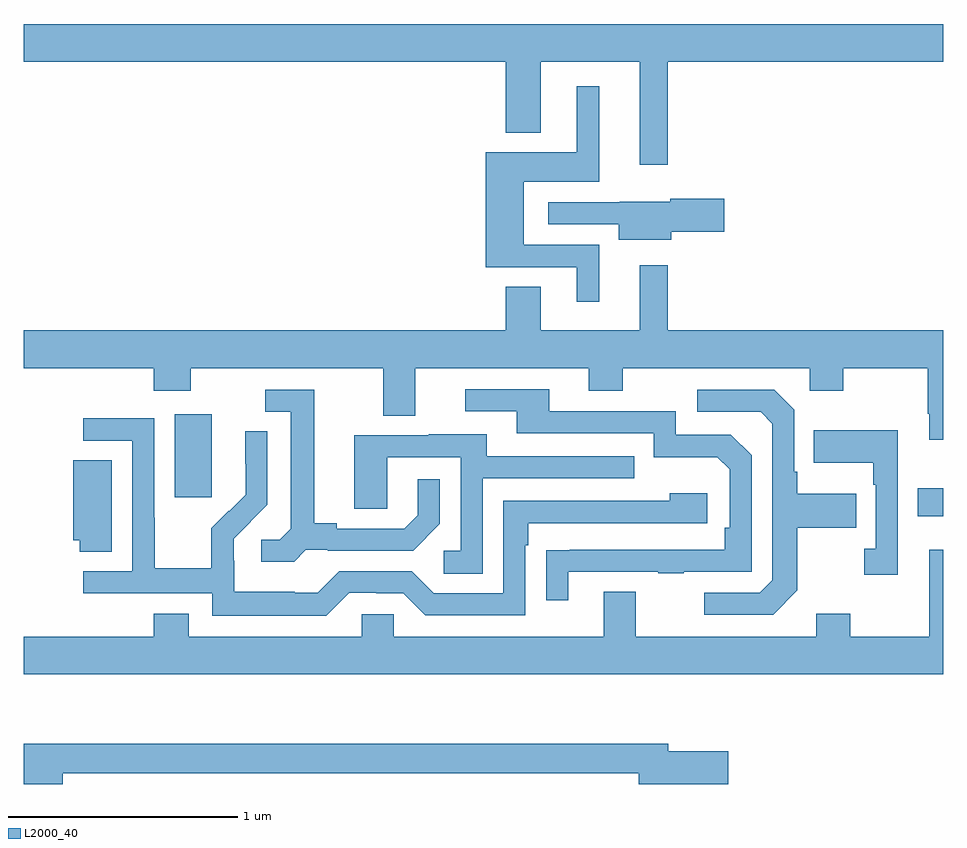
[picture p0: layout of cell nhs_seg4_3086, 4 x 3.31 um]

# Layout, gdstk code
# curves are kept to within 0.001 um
import gdstk
lib = gdstk.Library(unit=1e-6, precision=1e-09)
def R(c, l, rs):  # rectangles x0, y0, x1, y1
    for r in rs: c.add(gdstk.rectangle(r[:2], r[2:], *l))
def P(c, l, *ps):  # polygons
    for p in ps: c.add(gdstk.Polygon(p, *l))
L2000_40 = (2000, 40)

nhs_seg4_3086 = lib.new_cell('nhs_seg4_3086')
R(nhs_seg4_3086, L2000_40, [(278.889,752.219,279,752.341), (275.657,752.301,275.818,752.662)])
P(nhs_seg4_3086, L2000_40, [(277.801,754.196),(279,754.196),(279,754.36),(275,754.36),(275,754.196),(277.097,754.196),(277.097,753.887),(277.249,753.887),(277.249,754.196),(277.679,754.196),(277.679,753.747),(277.801,753.747)],
  [(277.504,753.399),(277.174,753.399),(277.174,753.674),(277.504,753.674),(277.504,754.09),(277.406,754.09),(277.406,753.802),(277.01,753.802),(277.01,753.303),(277.406,753.303),(277.406,753.153),(277.504,753.153)],
  [(277.816,753.457),(278.047,753.457),(278.047,753.599),(277.812,753.599),(277.812,753.586),(277.593,753.586),(277.593,753.585),(277.281,753.585),(277.281,753.489),(277.589,753.489),(277.589,753.422),(277.816,753.422)],
  [(279,753.028),(277.801,753.028),(277.801,753.31),(277.679,753.31),(277.679,753.028),(277.249,753.028),(277.249,753.218),(277.097,753.218),(277.097,753.028),(275,753.028),(275,752.864),(275.567,752.864),(275.567,752.765),(275.727,752.765),(275.727,752.864),(276.563,752.864),(276.563,752.656),(276.703,752.656),(276.703,752.864),(277.457,752.864),(277.457,752.765),(277.605,752.765),(277.605,752.864),(278.418,752.864),(278.418,752.765),(278.565,752.765),(278.565,752.864),(278.932,752.864),(278.932,752.665),(278.939,752.665),(278.939,752.553),(279,752.553)],
  [(277.369,751.977),(277.759,751.977),(277.759,751.972),(277.871,751.972),(277.871,751.977),(278.166,751.977),(278.166,752.484),(278.076,752.574),(277.836,752.574),(277.836,752.676),(277.285,752.676),(277.285,752.772),(276.921,752.772),(276.921,752.676),(277.145,752.676),(277.145,752.58),(277.74,752.58),(277.74,752.477),(278.017,752.477),(278.07,752.424),(278.07,752.17),(278.05,752.17),(278.05,752.073),(277.273,752.072),(277.273,751.854),(277.369,751.854)],
  [(276.228,752.073),(276.322,752.073),(276.322,752.07),(276.694,752.07),(276.81,752.186),(276.81,752.38),(276.713,752.38),(276.713,752.223),(276.656,752.166),(276.361,752.166),(276.361,752.189),(276.265,752.189),(276.265,752.769),(276.051,752.769),(276.051,752.673),(276.161,752.673),(276.161,752.165),(276.114,752.118),(276.033,752.118),(276.033,752.021),(276.176,752.021)],
  [(278.365,751.897),(278.365,752.17),(278.621,752.17),(278.621,752.317),(278.365,752.317),(278.365,752.413),(278.352,752.413),(278.352,752.682),(278.265,752.769),(277.929,752.769),(277.929,752.673),(278.205,752.673),(278.256,752.622),(278.256,751.941),(278.202,751.887),(277.959,751.887),(277.959,751.791),(278.259,751.791)],
  [(276.417,751.887),(276.533,751.887),(276.533,751.884),(276.651,751.884),(276.747,751.788),(277.182,751.788),(277.182,752.093),(277.195,752.093),(277.195,752.19),(277.972,752.19),(277.972,752.32),(277.811,752.32),(277.811,752.286),(277.086,752.286),(277.086,751.884),(276.783,751.884),(276.687,751.98),(276.372,751.98),(276.279,751.887),(276.179,751.887),(276.179,751.891),(275.916,751.891),(275.916,752.025),(275.914,752.025),(275.914,752.122),(276.06,752.27),(276.06,752.588),(275.963,752.588),(275.963,752.447),(275.966,752.447),(275.966,752.312),(275.895,752.241),(275.892,752.244),(275.815,752.167),(275.815,751.993),(275.571,751.993),(275.571,752.213),(275.568,752.213),(275.568,752.646),(275.259,752.646),(275.259,752.547),(275.472,752.547),(275.472,751.98),(275.259,751.98),(275.259,751.884),(275.82,751.884),(275.82,751.787),(276.317,751.787)],
  [(278.802,752.593),(278.437,752.593),(278.437,752.453),(278.694,752.453),(278.694,752.357),(278.706,752.357),(278.706,752.078),(278.655,752.078),(278.655,751.965),(278.802,751.965)],
  [(276.996,752.385),(277.655,752.385),(277.655,752.481),(277.015,752.481),(277.015,752.575),(276.761,752.575),(276.761,752.571),(276.437,752.571),(276.437,752.251),(276.582,752.251),(276.582,752.475),(276.9,752.475),(276.9,752.07),(276.828,752.07),(276.828,751.969),(276.996,751.969)],
  [(275.383,752.462),(275.216,752.462),(275.216,752.114),(275.245,752.114),(275.245,752.065),(275.383,752.065)],
  [(277.523,751.891),(277.523,751.696),(276.609,751.696),(276.609,751.794),(276.471,751.794),(276.471,751.696),(275.719,751.696),(275.719,751.795),(275.567,751.795),(275.567,751.696),(275,751.696),(275,751.532),(279,751.532),(279,752.074),(278.939,752.074),(278.939,751.696),(278.595,751.696),(278.595,751.795),(278.447,751.795),(278.447,751.696),(277.663,751.696),(277.663,751.891)],
  [(275.17,751.102),(277.676,751.102),(277.676,751.055),(278.065,751.055),(278.065,751.197),(277.804,751.197),(277.804,751.231),(275,751.231),(275,751.055),(275.17,751.055)])

lib.write_gds('nhs_seg4_3086.gds')
